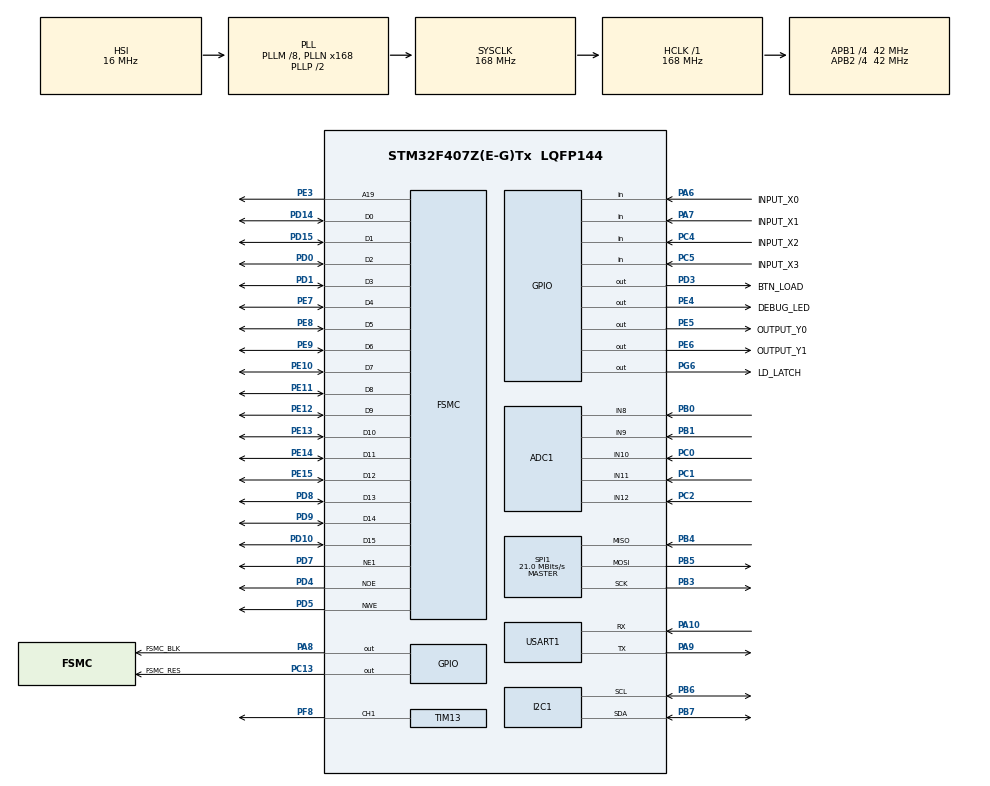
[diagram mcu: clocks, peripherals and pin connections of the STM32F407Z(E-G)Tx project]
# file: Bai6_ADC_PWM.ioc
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ADC1.Channel-0\#ChannelRegularConversion=ADC_CHANNEL_8
ADC1.Channel-1\#ChannelRegularConversion=ADC_CHANNEL_9
ADC1.Channel-2\#ChannelRegularConversion=ADC_CHANNEL_10
ADC1.Channel-3\#ChannelRegularConversion=ADC_CHANNEL_11
ADC1.Channel-4\#ChannelRegularConversion=ADC_CHANNEL_12
ADC1.NbrOfConversion=5
ADC1.NbrOfConversionFlag=1
ADC1.Rank-0\#ChannelRegularConversion=1
ADC1.Rank-1\#ChannelRegularConversion=2
ADC1.Rank-2\#ChannelRegularConversion=3
ADC1.Rank-3\#ChannelRegularConversion=4
ADC1.Rank-4\#ChannelRegularConversion=5
ADC1.SamplingTime-0\#ChannelRegularConversion=ADC_SAMPLETIME_3CYCLES
ADC1.SamplingTime-1\#ChannelRegularConversion=ADC_SAMPLETIME_3CYCLES
ADC1.SamplingTime-2\#ChannelRegularConversion=ADC_SAMPLETIME_3CYCLES
ADC1.SamplingTime-3\#ChannelRegularConversion=ADC_SAMPLETIME_3CYCLES
ADC1.SamplingTime-4\#ChannelRegularConversion=ADC_SAMPLETIME_3CYCLES
ADC1.ScanConvMode=ENABLE
ADC1.master=1
Dma.ADC1.0.Direction=DMA_PERIPH_TO_MEMORY
Dma.ADC1.0.FIFOMode=DMA_FIFOMODE_DISABLE
Dma.ADC1.0.Instance=DMA2_Stream0
Dma.ADC1.0.MemDataAlignment=DMA_MDATAALIGN_HALFWORD
Dma.ADC1.0.MemInc=DMA_MINC_ENABLE
Dma.ADC1.0.Mode=DMA_CIRCULAR
Dma.ADC1.0.PeriphDataAlignment=DMA_PDATAALIGN_HALFWORD
Dma.ADC1.0.PeriphInc=DMA_PINC_DISABLE
Dma.ADC1.0.Priority=DMA_PRIORITY_LOW
Dma.Request0=ADC1
FSMC.AddressSetupTime1=0xf
FSMC.BusTurnAroundDuration1=0
FSMC.DataSetupTime1=60
FSMC.ExtendedAddressSetupTime1=8
FSMC.ExtendedBusTurnAroundDuration1=0
FSMC.ExtendedDataSetupTime1=9
FSMC.ExtendedMode1=FSMC_EXTENDED_MODE_ENABLE
Mcu.Family=STM32F4
Mcu.Name=STM32F407Z(E-G)Tx
Mcu.Package=LQFP144
NVIC.DMA2_Stream0_IRQn=true\:0\:0\:false\:false\:true\:false\:true\:true
NVIC.PriorityGroup=NVIC_PRIORITYGROUP_4
NVIC.TIM2_IRQn=true\:0\:0\:false\:false\:true\:true\:true\:true
NVIC.USART1_IRQn=true\:0\:0\:false\:false\:true\:true\:true\:true
PA10.Mode=Asynchronous
PA10.Signal=USART1_RX
PA13.Mode=Serial_Wire
PA13.Signal=SYS_JTMS-SWDIO
PA14.Mode=Serial_Wire
PA14.Signal=SYS_JTCK-SWCLK
PA6.GPIO_Label=INPUT_X0
PA6.Signal=GPIO_Input
PA7.GPIO_Label=INPUT_X1
PA7.Signal=GPIO_Input
PA8.GPIO_Label=FSMC_BLK
PA8.Signal=GPIO_Output
PA9.Mode=Asynchronous
PA9.Signal=USART1_TX
PB0.Signal=ADCx_IN8
PB1.Signal=ADCx_IN9
PB3.Mode=Full_Duplex_Master
PB3.Signal=SPI1_SCK
PB4.Mode=Full_Duplex_Master
PB4.Signal=SPI1_MISO
PB5.Mode=Full_Duplex_Master
PB5.Signal=SPI1_MOSI
PB6.Mode=I2C
PB6.Signal=I2C1_SCL
PB7.Mode=I2C
PB7.Signal=I2C1_SDA
PC0.Signal=ADCx_IN10
PC1.Signal=ADCx_IN11
PC13-ANTI_TAMP.GPIO_Label=FSMC_RES
PC13-ANTI_TAMP.Signal=GPIO_Output
PC2.Signal=ADCx_IN12
PC4.GPIO_Label=INPUT_X2
PC4.Signal=GPIO_Input
PC5.GPIO_Label=INPUT_X3
PC5.Signal=GPIO_Input
PD0.Signal=FSMC_D2_DA2
PD1.Signal=FSMC_D3_DA3
PD10.Signal=FSMC_D15_DA15
PD14.Signal=FSMC_D0_DA0
PD15.Signal=FSMC_D1_DA1
PD3.GPIO_Label=BTN_LOAD
PD3.Signal=GPIO_Output
PD4.Signal=FSMC_NOE
PD5.Signal=FSMC_NWE
PD7.Mode=NorPsramChipSelect1_1
PD7.Signal=FSMC_NE1
PD8.Signal=FSMC_D13_DA13
PD9.Signal=FSMC_D14_DA14
PE10.Signal=FSMC_D7_DA7
PE11.Signal=FSMC_D8_DA8
PE12.Signal=FSMC_D9_DA9
PE13.Signal=FSMC_D10_DA10
PE14.Signal=FSMC_D11_DA11
PE15.Signal=FSMC_D12_DA12
PE3.Signal=FSMC_A19
PE4.GPIO_Label=DEBUG_LED
PE4.Signal=GPIO_Output
PE5.GPIO_Label=OUTPUT_Y0
PE5.Signal=GPIO_Output
PE6.GPIO_Label=OUTPUT_Y1
PE6.Signal=GPIO_Output
PE7.Signal=FSMC_D4_DA4
PE8.Signal=FSMC_D5_DA5
PE9.Signal=FSMC_D6_DA6
PF8.Signal=S_TIM13_CH1
PG6.GPIO_Label=LD_LATCH
PG6.Signal=GPIO_Output
PH0-OSC_IN.Mode=HSE-External-Oscillator
PH0-OSC_IN.Signal=RCC_OSC_IN
PH1-OSC_OUT.Mode=HSE-External-Oscillator
PH1-OSC_OUT.Signal=RCC_OSC_OUT
ProjectManager.HeapSize=0x200
ProjectManager.StackSize=0x400
ProjectManager.TargetToolchain=STM32CubeIDE
RCC.48MHZClocksFreq_Value=84000000
RCC.AHBFreq_Value=168000000
RCC.APB1CLKDivider=RCC_HCLK_DIV4
RCC.APB1Freq_Value=42000000
RCC.APB1TimFreq_Value=84000000
RCC.APB2CLKDivider=RCC_HCLK_DIV4
RCC.APB2Freq_Value=42000000
RCC.APB2TimFreq_Value=84000000
RCC.CortexFreq_Value=168000000
RCC.HCLKFreq_Value=168000000
RCC.HSE_VALUE=8000000
RCC.HSI_VALUE=16000000
RCC.LSE_VALUE=32768
RCC.PLLM=8
RCC.PLLN=168
RCC.SYSCLKFreq_VALUE=168000000
RCC.SYSCLKSource=RCC_SYSCLKSOURCE_PLLCLK
RCC.VCOOutputFreq_Value=336000000
SH.ADCx_IN10.0=ADC1_IN10,IN10
SH.ADCx_IN11.0=ADC1_IN11,IN11
SH.ADCx_IN12.0=ADC1_IN12,IN12
SH.ADCx_IN8.0=ADC1_IN8,IN8
SH.ADCx_IN9.0=ADC1_IN9,IN9
SH.FSMC_A19.0=FSMC_A19,A19_1
SH.FSMC_D0_DA0.0=FSMC_D0,16b-d1
SH.FSMC_D10_DA10.0=FSMC_D10,16b-d1
SH.FSMC_D11_DA11.0=FSMC_D11,16b-d1
SH.FSMC_D12_DA12.0=FSMC_D12,16b-d1
SH.FSMC_D13_DA13.0=FSMC_D13,16b-d1
SH.FSMC_D14_DA14.0=FSMC_D14,16b-d1
SH.FSMC_D15_DA15.0=FSMC_D15,16b-d1
SH.FSMC_D1_DA1.0=FSMC_D1,16b-d1
SH.FSMC_D2_DA2.0=FSMC_D2,16b-d1
SH.FSMC_D3_DA3.0=FSMC_D3,16b-d1
SH.FSMC_D4_DA4.0=FSMC_D4,16b-d1
SH.FSMC_D5_DA5.0=FSMC_D5,16b-d1
SH.FSMC_D6_DA6.0=FSMC_D6,16b-d1
SH.FSMC_D7_DA7.0=FSMC_D7,16b-d1
SH.FSMC_D8_DA8.0=FSMC_D8,16b-d1
SH.FSMC_D9_DA9.0=FSMC_D9,16b-d1
SH.FSMC_NOE.0=FSMC_NOE,Lcd1
SH.FSMC_NWE.0=FSMC_NWE,Lcd1
SH.S_TIM13_CH1.0=TIM13_CH1,PWM Generation1 CH1
SPI1.BaudRatePrescaler=SPI_BAUDRATEPRESCALER_2
SPI1.CalculateBaudRate=21.0 MBits/s
SPI1.Direction=SPI_DIRECTION_2LINES
SPI1.Mode=SPI_MODE_MASTER
SPI1.VirtualType=VM_MASTER
TIM13.Channel=TIM_CHANNEL_1
TIM13.Period=100-1
TIM13.Prescaler=840-1
TIM2.Period=100-1
TIM2.Prescaler=840-1
USART1.VirtualMode=VM_ASYNC
VP_TIM13_VS_ClockSourceINT.Mode=Enable_Timer
VP_TIM2_VS_ClockSourceINT.Mode=Internal
board=custom

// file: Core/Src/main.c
/* USER CODE BEGIN Header */
/**
  ******************************************************************************
  * @file           : main.c
  * @brief          : Main program body
  ******************************************************************************
  * @attention
  *
  * <h2><center>&copy; Copyright (c) 2023 STMicroelectronics.
  * All rights reserved.</center></h2>
  *
  * This software component is licensed by ST under BSD 3-Clause license,
  * the "License"; You may not use this file except in compliance with the
  * License. You may obtain a copy of the License at:
  *                        opensource.org/licenses/BSD-3-Clause
  *
  ******************************************************************************
  */
/* USER CODE END Header */
#include "main.h"
#include "adc.h"
#include "dma.h"
#include "i2c.h"
#include "spi.h"
#include "tim.h"
#include "usart.h"
#include "gpio.h"
#include "fsmc.h"

/* USER CODE BEGIN Includes */
#include "uart.h"
#include "software_timer.h"
#include "led_7seg.h"
#include "button.h"
#include "lcd.h"
#include "picture.h"
#include "ds3231.h"
#include "sensor.h"
#include "buzzer.h"
/* USER CODE END Includes */

/* USER CODE BEGIN PD */
#define SIZE62 10
#define HEIGHT62 150
#define MIN62 45
#define MAX62 50
#define OFFSET62 5
/* USER CODE END PD */

void SystemClock_Config(void);
/* USER CODE BEGIN PFP */
void system_init();
void test_LedDebug();
void test_Buzzer();
void test_Adc();
/* USER CODE END PFP */

/* USER CODE BEGIN 0 */
uint8_t counter61 = 0;
char buffer61[20];
void ex61(){
	counter61 = (counter61 + 1) % 20;
	if (counter61 == 0) {
		sensor_Read();
		lcd_ShowStr(10, 20, "Power: ", RED, BLACK, 16, 0);
		lcd_ShowFloatNum(150, 20, sensor_GetVoltage() * sensor_GetCurrent() * 0.001, 4, RED, BLACK, 16);
		uart_Rs232SendString((uint8_t*)"\nPower: ");
		sprintf(buffer61, "%.2f", sensor_GetVoltage() * sensor_GetCurrent() * 0.001);
		uart_Rs232SendString((uint8_t*)buffer61);

		lcd_ShowStr(10, 40, "Light: ", RED, BLACK, 16, 0);
		lcd_ShowIntNum(150, 40, sensor_GetLight(), 4, RED, BLACK, 16);
		uart_Rs232SendString((uint8_t*)"\nLight: ");
		uart_Rs232SendNum(sensor_GetLight());

		lcd_ShowStr(10, 60, "Temperature: ", RED, BLACK, 16, 0);
		lcd_ShowFloatNum(150, 60, sensor_GetTemperature(), 4, RED, BLACK, 16);
		uart_Rs232SendString((uint8_t*)"\nTemperature: ");
		sprintf(buffer61, "%.2f", sensor_GetTemperature());
		uart_Rs232SendString((uint8_t*)buffer61);

		lcd_ShowStr(10, 80, "Potentiometer: ", RED, BLACK, 16, 0);
		lcd_ShowIntNum(150, 80, sensor_GetPotentiometer(), 4, RED, BLACK, 16);
		uart_Rs232SendString((uint8_t*)"\nPotentiometer: ");
		uart_Rs232SendNum(sensor_GetPotentiometer());
		uart_Rs232SendString((uint8_t*)"\n");

		if (sensor_GetPotentiometer() > 0.7 * 4095) {
			buzzer_SetVolume(50);
			uart_Rs232SendString((uint8_t*)"\nWARNING\n");
		} else {
			buzzer_SetVolume(0);
		}
	}
	ds3231_ReadTime();
	lcd_ShowIntNum(70, 100, ds3231_hours, 2, GREEN, BLACK, 16);
	lcd_ShowStr(95, 100, ":", GREEN, BLACK, 16, 0);
	lcd_ShowIntNum(110, 100, ds3231_min, 2, GREEN, BLACK, 16);
	lcd_ShowStr(135, 100, ":", GREEN, BLACK, 16, 0);
	lcd_ShowIntNum(150, 100, ds3231_sec, 2, GREEN, BLACK, 16);
}
void ex61_rt(){
	ds3231_init();
	ds3231_Write(ADRESS_YEAR, 23);
	ds3231_Write(ADRESS_MONTH, 10);
	ds3231_Write(ADRESS_DATE, 20);
	ds3231_Write(ADRESS_DAY, 6);
	ds3231_Write(ADRESS_HOUR, 20);
	ds3231_Write(ADRESS_MIN, 11);
	ds3231_Write(ADRESS_SEC, 23);
}
void ex61_uart(){
	uart_init_rs232();
}
typedef struct {
	float arr[SIZE62];
    int front;
    int rear;
} queue62;
void queue62_init(queue62 *q) {
    q->front = -1;
    q->rear = -1;
}
void queue62_insert(queue62 *q, float value) {
    if ((q->rear + 1) % SIZE62 == q->front) {
        q->front = (q->front + 1) % SIZE62;
    }
    if (q->front == -1) {
        q->front = 0;
    }
    q->rear = (q->rear + 1) % SIZE62;
    q->arr[q->rear] = value;
}
queue62 q62;
uint16_t counter62 = 0;
uint8_t x62 = 0;
uint8_t y62 = 0;
uint8_t oldy62 = 0;
void ex62(queue62 *q) {
	counter62 = (counter62 + 1) % (20 * 15);
	lcd_DrawLine(40, 300, 40, 300 - HEIGHT62, WHITE);
	lcd_DrawLine(40, 300, 220, 300, WHITE);
	lcd_ShowIntNum(10, 300 - 10, MIN62, 2, WHITE, BLACK, 16);
	lcd_ShowIntNum(10, 300 - HEIGHT62 - 10, MAX62, 2, WHITE, BLACK, 16);
	if (counter62 == 0) {
		sensor_Read();
		queue62_insert(q, sensor_GetVoltage() * sensor_GetCurrent() * 0.001);
		lcd_Fill(40 + OFFSET62, 300 - HEIGHT62 + OFFSET62, 220 - OFFSET62, 300 - OFFSET62, BLACK);

		if (q->front != -1) {
			x62 = 50;
			for (int i = q->front; i != q->rear; i = (i + 1) % SIZE62) {
				y62 = (q->arr[i] - MIN62) * (HEIGHT62 / (MAX62 - MIN62));
				lcd_DrawPoint(x62, 300 - y62, RED);
				if (i != q->front) {
					lcd_DrawLine(x62 - 20, 300 - oldy62, x62, 300 - y62, YELLOW);
				}
				oldy62 = y62;
				x62 += 20;
			}
		}
	}
}
/* USER CODE END 0 */

int main(void)
{

  /* MCU Configuration--------------------------------------------------------*/

  /* Reset of all peripherals, Initializes the Flash interface and the Systick. */
  HAL_Init();

  /* Configure the system clock */
  SystemClock_Config();

  /* Initialize all configured peripherals */
  MX_GPIO_Init();
  MX_DMA_Init();
  MX_SPI1_Init();
  MX_FSMC_Init();
  MX_I2C1_Init();
  MX_TIM13_Init();
  MX_TIM2_Init();
  MX_ADC1_Init();
  MX_USART1_UART_Init();
  /* USER CODE BEGIN 2 */
  system_init();
  /* USER CODE END 2 */

  /* Infinite loop */
  /* USER CODE BEGIN WHILE */
 lcd_Clear(BLACK);
 ex61_rt();
 ex61_uart();
 queue62_init(&q62);
  while (1)
  {
	  while(!flag_timer2);
	  flag_timer2 = 0;
	  button_Scan();
//	  test_LedDebug();
//	  test_Adc();
//	  test_Buzzer();
	  ex61();
	  ex62(&q62);
    /* USER CODE END WHILE */

  }
}

void SystemClock_Config(void)
{
  RCC_OscInitTypeDef RCC_OscInitStruct = {0};
  RCC_ClkInitTypeDef RCC_ClkInitStruct = {0};

  /** Configure the main internal regulator output voltage
  */
  __HAL_RCC_PWR_CLK_ENABLE();
  __HAL_PWR_VOLTAGESCALING_CONFIG(PWR_REGULATOR_VOLTAGE_SCALE1);
  /** Initializes the RCC Oscillators according to the specified parameters
  * in the RCC_OscInitTypeDef structure.
  */
  RCC_OscInitStruct.OscillatorType = RCC_OSCILLATORTYPE_HSI;
  RCC_OscInitStruct.HSIState = RCC_HSI_ON;
  RCC_OscInitStruct.HSICalibrationValue = RCC_HSICALIBRATION_DEFAULT;
  RCC_OscInitStruct.PLL.PLLState = RCC_PLL_ON;
  RCC_OscInitStruct.PLL.PLLSource = RCC_PLLSOURCE_HSI;
  RCC_OscInitStruct.PLL.PLLM = 8;
  RCC_OscInitStruct.PLL.PLLN = 168;
  RCC_OscInitStruct.PLL.PLLP = RCC_PLLP_DIV2;
  RCC_OscInitStruct.PLL.PLLQ = 4;
  if (HAL_RCC_OscConfig(&RCC_OscInitStruct) != HAL_OK)
  {
    Error_Handler();
  }
  /** Initializes the CPU, AHB and APB buses clocks
  */
  RCC_ClkInitStruct.ClockType = RCC_CLOCKTYPE_HCLK|RCC_CLOCKTYPE_SYSCLK
                              |RCC_CLOCKTYPE_PCLK1|RCC_CLOCKTYPE_PCLK2;
  RCC_ClkInitStruct.SYSCLKSource = RCC_SYSCLKSOURCE_PLLCLK;
  RCC_ClkInitStruct.AHBCLKDivider = RCC_SYSCLK_DIV1;
  RCC_ClkInitStruct.APB1CLKDivider = RCC_HCLK_DIV4;
  RCC_ClkInitStruct.APB2CLKDivider = RCC_HCLK_DIV4;

  if (HAL_RCC_ClockConfig(&RCC_ClkInitStruct, FLASH_LATENCY_5) != HAL_OK)
  {
    Error_Handler();
  }
}

/* USER CODE BEGIN 4 */

void system_init(){
	ds3231_init();
	timer_init();
	button_init();
	lcd_init();
	sensor_init();
	buzzer_init();
	setTimer2(50);
}

uint8_t count_led_debug = 0;

void test_LedDebug(){
	count_led_debug = (count_led_debug + 1)%20;
	if(count_led_debug == 0){
		HAL_GPIO_TogglePin(DEBUG_LED_GPIO_Port, DEBUG_LED_Pin);
	}
}

uint8_t isButtonUp()
{
    if (button_count[3] == 1)
        return 1;
    else
        return 0;
}

uint8_t isButtonDown()
{
    if (button_count[7] == 1)
        return 1;
    else
        return 0;
}

uint8_t isButtonRight()
{
    if (button_count[11] == 1)
        return 1;
    else
        return 0;
}

uint8_t count_adc = 0;

void test_Adc(){
	count_adc = (count_adc + 1)%20;
	if(count_adc == 0){
		sensor_Read();
		lcd_ShowStr(10, 100, "Voltage:", RED, BLACK, 16, 0);
		lcd_ShowFloatNum(130, 100,sensor_GetVoltage(), 4, RED, BLACK, 16);
		lcd_ShowStr(10, 120, "Current:", RED, BLACK, 16, 0);
		lcd_ShowFloatNum(130, 120,sensor_GetCurrent(), 4, RED, BLACK, 16);
		lcd_ShowStr(10, 140, "Light:", RED, BLACK, 16, 0);
		lcd_ShowIntNum(130, 140, sensor_GetLight(), 4, RED, BLACK, 16);
		lcd_ShowStr(10, 160, "Potentiometer:", RED, BLACK, 16, 0);
		lcd_ShowIntNum(130, 160, sensor_GetPotentiometer(), 4, RED, BLACK, 16);
		lcd_ShowStr(10, 180, "Temperature:", RED, BLACK, 16, 0);
		lcd_ShowFloatNum(130, 180,sensor_GetTemperature(), 4, RED, BLACK, 16);
	}
}

void test_Buzzer(){
	if(isButtonUp()){
		buzzer_SetVolume(50);
	}

	if(isButtonDown()){
		buzzer_SetVolume(0);
	}

	if(isButtonRight()){
		buzzer_SetVolume(25);
	}

}
/* USER CODE END 4 */

void Error_Handler(void)
{
  __disable_irq();
  while (1)
  {
  }
}

/************************ (C) COPYRIGHT STMicroelectronics *****END OF FILE****/
